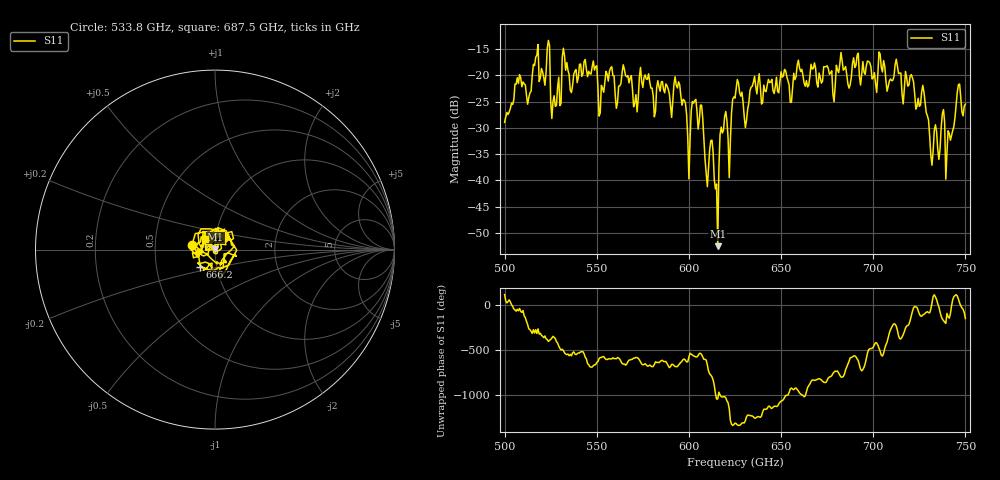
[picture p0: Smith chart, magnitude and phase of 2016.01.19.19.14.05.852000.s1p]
!Created with skrf (http://scikit-rf.org).
# GHz S RI R 50.0
!freq ReS11 ImS11
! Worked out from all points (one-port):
!   401 points, 500 GHz to 750 GHz, reference 50 ohm
!   lowest |S11| = -52.5 dB at 615.6 GHz (marker M1), VSWR 1.00, Z = 50.2 + j0.132 ohm
!   |S11| at or under -10 dB: start of sweep to end of sweep
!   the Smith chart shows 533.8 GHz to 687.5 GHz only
!   S11 on the Smith chart (normalised r, x): 533.8 GHz: 0.77, +0.04; 666.2 GHz: 0.83, -0.16; 687.5 GHz: 0.89, +0.11
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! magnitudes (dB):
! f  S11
! 500 GHz  -29.0
! 507.5 GHz  -21.6
! 513.1 GHz  -24.2
! 516.9 GHz  -16.5
! 523.1 GHz  -14.9
! 526.9 GHz  -23.9
! 531.2 GHz  -16.6
! 533.8 GHz  -17.6
! 562.5 GHz  -22.0
! 593.8 GHz  -22.4
! 599.4 GHz  -31.9
! 602.5 GHz  -25.3
! 606.9 GHz  -25.7
! 609.4 GHz  -38.7
! 611.9 GHz  -32.4
! 615.6 GHz  -52.5
! 618.1 GHz  -31.0
! 621.9 GHz  -39.5
! 625 GHz  -24.3
! 631.2 GHz  -28.6
! 635 GHz  -21.3
! 656.2 GHz  -22.3
! 666.2 GHz  -17.9
! 687.5 GHz  -21.8
! 718.8 GHz  -22.1
! 727.5 GHz  -23.2
! 731.9 GHz  -37.1
! 750 GHz  -25.5
